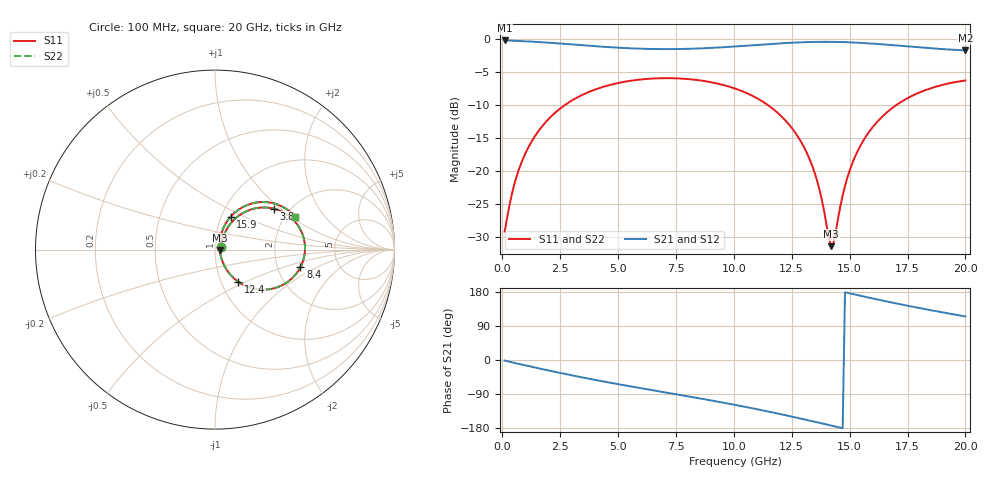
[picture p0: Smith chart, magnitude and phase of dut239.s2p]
! Touchstone file exported from HFSS 2026.1.0
!  File:  C:/ffzhzh/LocalFiles/Ansys_Project_Files/temp_train_TSV_RDL_239_1783066013_18316.aedt
!  Generated:  04:18:02 PM Jul  3, 2026
!  Design:  TSV_RDL
!  Project:  temp_train_TSV_RDL_239_1783066013_18316
! Variables:
!  h_bsmrdl = 2.35um
!  h_ox = 20um
!  h_rdl = 5um
!  h_sub = 51.83um
!  h_tmrdl = 2.69um
!  h_tsv = 51.83um
!  h_via = 3um
!  l_bsmrdl = 230.64um
!  l_sub = 4257.97um
!  l_tmrdl = 760.14um
!  m_sub = 200um
!  pitch = 36.08um
!  r_tsv = 4.37um
!  s_tmrdl = 10um
!  w_bsmrdl = 25.87um
!  w_sub = 500um
!  w_tmrdl = 15.96um
!  x_tsv_center1 = 768.12um
!  x_tsv_center2 = 1024.63um
!  x_tsv_center3 = 1800.73um
!  x_tsv_center4 = 2057.24um
!  x_tsv_center5 = 2833.34um
!  x_tsv_center6 = 3089.85um
# GHz S MA R 50.000000
! Terminal data exported
! Port[1] = TM_RDL1_1_T1
! Port[2] = TM_RDL5_1_T1
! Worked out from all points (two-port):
!   200 points, 100 MHz to 20 GHz, reference 50 ohm
!   highest |S21| = -0.28 dB at 100 MHz (marker M1); lowest = -1.8 dB at 20 GHz (marker M2)
!   |S21| within 3 dB of the highest: start of sweep to end of sweep
!   lowest |S11| = -31.5 dB at 14.2 GHz (marker M3), VSWR 1.05, Z = 52.7 - j0.142 ohm
!   |S11| at or under -10 dB: start of sweep to 2.731 GHz; 11.44 GHz to 17.05 GHz (5.609 GHz wide, 39.4 % of centre)
!   |S22| runs from -31.4 to -6.0 dB; largest |S21 - S12| = 2e-14
!   S11 on the Smith chart (normalised r, x): 100 MHz: 1.06, +0.03; 3.8 GHz: 1.66, +0.90; 8.4 GHz: 2.69, -0.69; 12.4 GHz: 1.20, -0.45; 15.9 GHz: 1.11, +0.42; 20 GHz: 2.25, +1.07
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0.1  0.03439 23.3  0.9687 -1.5  0.9687 -1.5  0.03439 23.3
! Gamma 0 0 0 0
! Port Impedance 50 0 50 0
0.6  0.0882 57.9  0.9614 -8.7  0.9614 -8.7  0.08819 57.9
1.2  0.1583 59.5  0.9504 -17.0  0.9504 -17.0  0.1583 59.5
2.2  0.2663 51.7  0.9268 -30.3  0.9268 -30.3  0.2663 51.7
3.5  0.3778 38.1  0.8902 -46.6  0.8902 -46.6  0.3778 38.2
3.8  0.3983 35.0  0.8819 -50.1  0.8819 -50.1  0.3983 35.0
5.4  0.475 18.4  0.8466 -68.1  0.8466 -68.1  0.475 18.4
6.8  0.5008 4.4  0.8333 -83.0  0.8333 -83.0  0.5008 4.4
8.4  0.486 -11.6  0.8412 -100.0  0.8412 -100.0  0.4859 -11.6
10.1  0.4156 -29.4  0.8732 -119.0  0.8732 -119.0  0.4156 -29.4
11.4  0.3198 -43.6  0.9063 -134.9  0.9063 -134.9  0.3198 -43.6
12.4  0.2214 -54.2  0.9293 -147.9  0.9293 -147.9  0.2214 -54.1
13.4  0.1068 -60.0  0.9434 -161.7  0.9434 -161.7  0.1069 -59.9
13.7  0.07147 -56.7  0.9451 -165.9  0.9451 -165.9  0.07156 -56.5
14.2  0.02672 -2.9  0.945 -172.9  0.945 -172.9  0.027 -2.8
14.3  0.02798 22.3  0.9446 -174.3  0.9446 -174.3  0.02826 22.1
14.7  0.06486 63.9  0.9413 -179.9  0.9413 -179.9  0.06499 63.7
15  0.09981 68.5  0.9373 175.9  0.9373 175.9  0.09989 68.4
15.9  0.203 64.6  0.919 163.7  0.919 163.7  0.203 64.5
16.7  0.2847 56.6  0.8971 153.2  0.8971 153.2  0.2847 56.6
18.2  0.4025 40.7  0.8531 134.9  0.8531 134.9  0.4025 40.6
20  0.4817 22.4  0.8146 115.0  0.8146 115.0  0.4817 22.4
